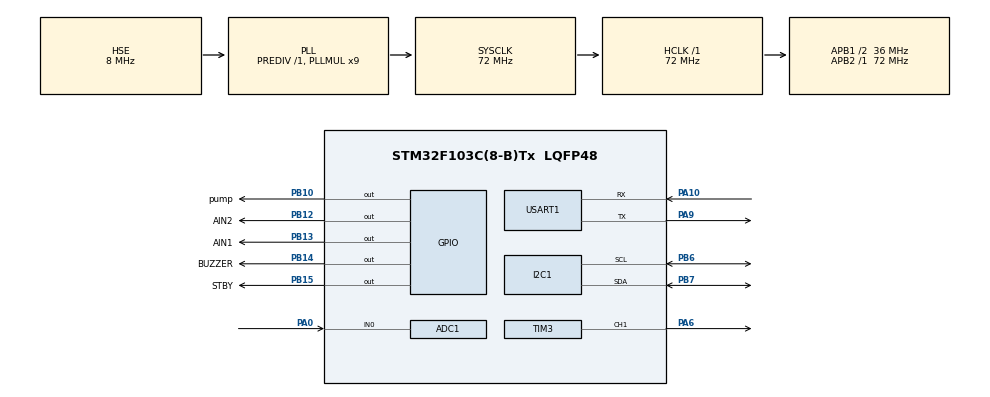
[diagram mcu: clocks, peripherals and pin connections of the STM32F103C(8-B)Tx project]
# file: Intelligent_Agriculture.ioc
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ADC1.Channel-0\#ChannelRegularConversion=ADC_CHANNEL_0
ADC1.ContinuousConvMode=DISABLE
ADC1.NbrOfConversionFlag=1
ADC1.Rank-0\#ChannelRegularConversion=1
ADC1.SamplingTime-0\#ChannelRegularConversion=ADC_SAMPLETIME_239CYCLES_5
ADC1.master=1
Dma.Request0=USART1_RX
Dma.Request1=USART1_TX
Dma.USART1_RX.0.Direction=DMA_PERIPH_TO_MEMORY
Dma.USART1_RX.0.Instance=DMA1_Channel5
Dma.USART1_RX.0.MemDataAlignment=DMA_MDATAALIGN_BYTE
Dma.USART1_RX.0.MemInc=DMA_MINC_ENABLE
Dma.USART1_RX.0.Mode=DMA_NORMAL
Dma.USART1_RX.0.PeriphDataAlignment=DMA_PDATAALIGN_BYTE
Dma.USART1_RX.0.PeriphInc=DMA_PINC_DISABLE
Dma.USART1_RX.0.Priority=DMA_PRIORITY_LOW
Dma.USART1_TX.1.Direction=DMA_MEMORY_TO_PERIPH
Dma.USART1_TX.1.Instance=DMA1_Channel4
Dma.USART1_TX.1.MemDataAlignment=DMA_MDATAALIGN_BYTE
Dma.USART1_TX.1.MemInc=DMA_MINC_ENABLE
Dma.USART1_TX.1.Mode=DMA_NORMAL
Dma.USART1_TX.1.PeriphDataAlignment=DMA_PDATAALIGN_BYTE
Dma.USART1_TX.1.PeriphInc=DMA_PINC_DISABLE
Dma.USART1_TX.1.Priority=DMA_PRIORITY_LOW
I2C1.I2C_Mode=I2C_Fast
Mcu.Family=STM32F1
Mcu.Name=STM32F103C(8-B)Tx
Mcu.Package=LQFP48
NVIC.DMA1_Channel4_IRQn=true\:0\:0\:false\:false\:true\:false\:true\:true
NVIC.DMA1_Channel5_IRQn=true\:0\:0\:false\:false\:true\:false\:true\:true
NVIC.PriorityGroup=NVIC_PRIORITYGROUP_4
NVIC.TIM2_IRQn=true\:0\:0\:true\:false\:true\:true\:true\:true
NVIC.USART1_IRQn=true\:0\:0\:false\:false\:true\:true\:true\:true
PA0-WKUP.Signal=ADCx_IN0
PA10.Mode=Asynchronous
PA10.Signal=USART1_RX
PA13.Mode=Serial_Wire
PA13.Signal=SYS_JTMS-SWDIO
PA14.Mode=Serial_Wire
PA14.Signal=SYS_JTCK-SWCLK
PA6.Signal=S_TIM3_CH1
PA9.Mode=Asynchronous
PA9.Signal=USART1_TX
PB10.GPIO_Label=pump
PB10.PinState=GPIO_PIN_SET
PB10.Signal=GPIO_Output
PB12.GPIO_Label=AIN2
PB12.Signal=GPIO_Output
PB13.GPIO_Label=AIN1
PB13.Signal=GPIO_Output
PB14.GPIO_Label=BUZZER
PB14.Signal=GPIO_Output
PB15.GPIO_Label=STBY
PB15.Signal=GPIO_Output
PB6.Mode=I2C
PB6.Signal=I2C1_SCL
PB7.Mode=I2C
PB7.Signal=I2C1_SDA
PD0-OSC_IN.Mode=HSE-External-Oscillator
PD0-OSC_IN.Signal=RCC_OSC_IN
PD1-OSC_OUT.Mode=HSE-External-Oscillator
PD1-OSC_OUT.Signal=RCC_OSC_OUT
ProjectManager.HeapSize=0x200
ProjectManager.StackSize=0x400
ProjectManager.TargetToolchain=STM32CubeIDE
RCC.ADCPresc=RCC_ADCPCLK2_DIV6
RCC.AHBFreq_Value=72000000
RCC.APB1CLKDivider=RCC_HCLK_DIV2
RCC.APB1Freq_Value=36000000
RCC.APB1TimFreq_Value=72000000
RCC.APB2Freq_Value=72000000
RCC.APB2TimFreq_Value=72000000
RCC.HCLKFreq_Value=72000000
RCC.PLLMUL=RCC_PLL_MUL9
RCC.PLLSourceVirtual=RCC_PLLSOURCE_HSE
RCC.SYSCLKFreq_VALUE=72000000
RCC.SYSCLKSource=RCC_SYSCLKSOURCE_PLLCLK
RCC.USBFreq_Value=72000000
SH.ADCx_IN0.0=ADC1_IN0,IN0
SH.S_TIM3_CH1.0=TIM3_CH1,PWM Generation1 CH1
TIM1.Prescaler=71
TIM2.AutoReloadPreload=TIM_AUTORELOAD_PRELOAD_ENABLE
TIM2.Period=9999
TIM2.Prescaler=7199
TIM3.Channel-PWM\ Generation1\ CH1=TIM_CHANNEL_1
TIM3.Period=99
TIM3.Prescaler=7199
USART1.VirtualMode=VM_ASYNC
VP_TIM1_VS_ClockSourceINT.Mode=Internal
VP_TIM2_VS_ClockSourceINT.Mode=Internal
VP_TIM3_VS_ClockSourceINT.Mode=Internal
board=custom

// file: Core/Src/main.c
/* USER CODE BEGIN Header */
/**
  ******************************************************************************
  * @file           : main.c
  * @brief          : Main program body
  ******************************************************************************
  * @attention
  *
  * Copyright (c) 2026 STMicroelectronics.
  * All rights reserved.
  *
  * This software is licensed under terms that can be found in the LICENSE file
  * in the root directory of this software component.
  * If no LICENSE file comes with this software, it is provided AS-IS.
  *
  ******************************************************************************
  */
/* USER CODE END Header */
#include "main.h"
#include "adc.h"
#include "dma.h"
#include "i2c.h"
#include "tim.h"
#include "usart.h"
#include "gpio.h"

/* USER CODE BEGIN Includes */
#include <string.h>
#include <stdio.h>

/*----BSP--------BSP--------BSP--------BSP----*/
#include "oled.h"
#include "dht11.h"
#include "motor.h"
#include "beep.h"
/*----BSP--------BSP--------BSP--------BSP----*/

/*----APP--------APP--------APP--------APP----*/
#include "st_it.h"
#include "soil.h"
#include "pump.h"
#include "fan.h"
#include "cloud.h"
/*----APP--------APP--------APP--------APP----*/

/* USER CODE END Includes */

/* USER CODE BEGIN PV */
unsigned char DHT_buf[60]={0};
volatile _Bool DHT_Flag=0;  //DHT11检测标志位，置1时读取温湿度，1s一次
unsigned char Soil_buf[20]={0};
uint32_t adc_soil=0;
volatile uint8_t soil_Flag=0;  //土壤检测标志位，ADC单次采样，为2采样1次土壤湿度,2s一次
uint8_t soil_Humi;

uint8_t UART_DMAbuf[UART_SIZE_RECV]={0};

/* USER CODE END PV */

void SystemClock_Config(void);

int main(void)
{

  /* MCU Configuration--------------------------------------------------------*/

  /* Reset of all peripherals, Initializes the Flash interface and the Systick. */
  HAL_Init();

  /* Configure the system clock */
  SystemClock_Config();

  /* Initialize all configured peripherals */
  MX_GPIO_Init();
  MX_DMA_Init();
  MX_I2C1_Init();
  MX_TIM1_Init();
  MX_TIM2_Init();
  MX_ADC1_Init();
  MX_TIM3_Init();
  MX_USART1_UART_Init();
  /* USER CODE BEGIN 2 */
  OLED_Init();
  OLED_Clear();
  Motor_Init();
  HAL_ADCEx_Calibration_Start(&hadc1);
  HAL_TIM_Base_Start_IT(&htim2);
  HAL_TIM_PWM_Start(&htim3, TIM_CHANNEL_1);

  HAL_UARTEx_ReceiveToIdle_DMA(&huart1, UART_DMAbuf, UART_SIZE_RECV - 1U);
  HAL_NVIC_DisableIRQ(DMA1_Channel5_IRQn);

  OLED_ShowString(0, 0, (uint8_t *)"--Smart Plant--", 16);
  /* USER CODE END 2 */

  /* Infinite loop */
  /* USER CODE BEGIN WHILE */
  while (1)
  {
	  if(DHT_Flag==1)
	  {
		  if(DHT_Read())
			  sprintf(DHT_buf,"Hum:%u%% ,Tem:%uC", Data[0],Data[2]);
		  else
			  OLED_ShowString(0,2,"DHT_ERROR",8);

		  DHT_Flag=0;  //清空标志位
	  }

	  if(soil_Flag==2)
		  soil_Humi_Take();//采集土壤湿度

	  Plant_Pump_Task();//水泵任务逻辑
	  Pump_OLED_sTate();
	  Plant_Fan_Task();//风扇任务逻辑
	  Data_Form_Print();
	  Buzzer_Update();

	  OLED_ShowString(0,2,DHT_buf,16);
	  OLED_ShowString(0,4,Soil_buf,16);

    /* USER CODE END WHILE */

  }
}

void SystemClock_Config(void)
{
  RCC_OscInitTypeDef RCC_OscInitStruct = {0};
  RCC_ClkInitTypeDef RCC_ClkInitStruct = {0};
  RCC_PeriphCLKInitTypeDef PeriphClkInit = {0};

  /** Initializes the RCC Oscillators according to the specified parameters
  * in the RCC_OscInitTypeDef structure.
  */
  RCC_OscInitStruct.OscillatorType = RCC_OSCILLATORTYPE_HSE;
  RCC_OscInitStruct.HSEState = RCC_HSE_ON;
  RCC_OscInitStruct.HSEPredivValue = RCC_HSE_PREDIV_DIV1;
  RCC_OscInitStruct.HSIState = RCC_HSI_ON;
  RCC_OscInitStruct.PLL.PLLState = RCC_PLL_ON;
  RCC_OscInitStruct.PLL.PLLSource = RCC_PLLSOURCE_HSE;
  RCC_OscInitStruct.PLL.PLLMUL = RCC_PLL_MUL9;
  if (HAL_RCC_OscConfig(&RCC_OscInitStruct) != HAL_OK)
  {
    Error_Handler();
  }

  /** Initializes the CPU, AHB and APB buses clocks
  */
  RCC_ClkInitStruct.ClockType = RCC_CLOCKTYPE_HCLK|RCC_CLOCKTYPE_SYSCLK
                              |RCC_CLOCKTYPE_PCLK1|RCC_CLOCKTYPE_PCLK2;
  RCC_ClkInitStruct.SYSCLKSource = RCC_SYSCLKSOURCE_PLLCLK;
  RCC_ClkInitStruct.AHBCLKDivider = RCC_SYSCLK_DIV1;
  RCC_ClkInitStruct.APB1CLKDivider = RCC_HCLK_DIV2;
  RCC_ClkInitStruct.APB2CLKDivider = RCC_HCLK_DIV1;

  if (HAL_RCC_ClockConfig(&RCC_ClkInitStruct, FLASH_LATENCY_2) != HAL_OK)
  {
    Error_Handler();
  }
  PeriphClkInit.PeriphClockSelection = RCC_PERIPHCLK_ADC;
  PeriphClkInit.AdcClockSelection = RCC_ADCPCLK2_DIV6;
  if (HAL_RCCEx_PeriphCLKConfig(&PeriphClkInit) != HAL_OK)
  {
    Error_Handler();
  }
}

void Error_Handler(void)
{
  __disable_irq();
  while (1)
  {
  }
}
